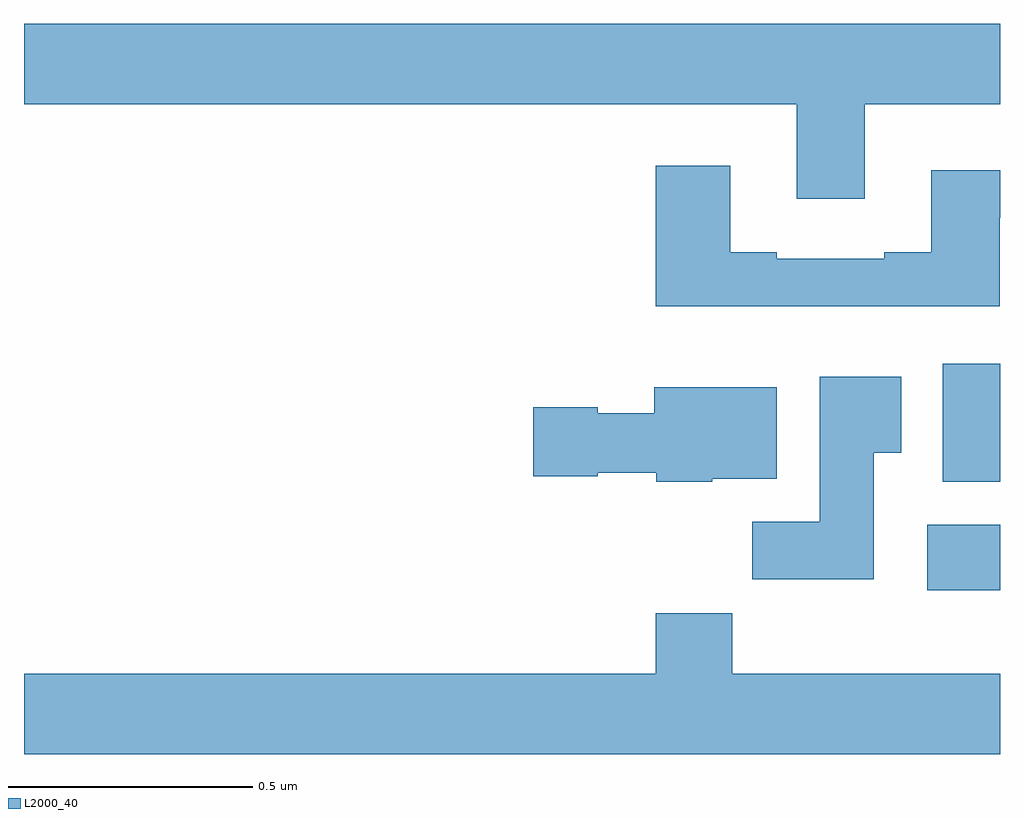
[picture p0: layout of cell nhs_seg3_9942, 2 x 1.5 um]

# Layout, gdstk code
import gdstk
lib = gdstk.Library(unit=1e-6, precision=1e-09)
def R(c, l, rs):  # rectangles x0, y0, x1, y1
    for r in rs: c.add(gdstk.rectangle(r[:2], r[2:], *l))
def P(c, l, *ps):  # polygons
    for p in ps: c.add(gdstk.Polygon(p, *l))
L2000_40 = (2000, 40)

nhs_seg3_9942 = lib.new_cell('nhs_seg3_9942')
R(nhs_seg3_9942, L2000_40, [(235.851,745.208,236,745.342), (235.883,745.43,236,745.672)])
P(nhs_seg3_9942, L2000_40, [(235.723,746.204),(236,746.204),(236,746.368),(234,746.368),(234,746.204),(235.583,746.204),(235.583,746.01),(235.723,746.01)],
  [(235.999,745.971),(236,745.971),(236,746.068),(235.859,746.068),(235.859,745.9),(235.763,745.9),(235.763,745.887),(235.543,745.887),(235.543,745.9),(235.447,745.9),(235.447,746.077),(235.295,746.077),(235.295,745.79),(235.999,745.79)],
  [(235.741,745.489),(235.798,745.489),(235.798,745.645),(235.631,745.645),(235.631,745.348),(235.492,745.348),(235.492,745.23),(235.741,745.23)],
  [(235.41,745.436),(235.543,745.436),(235.543,745.624),(235.292,745.624),(235.292,745.57),(235.176,745.57),(235.176,745.583),(235.044,745.583),(235.044,745.441),(235.176,745.441),(235.176,745.448),(235.296,745.448),(235.296,745.43),(235.41,745.43)],
  [(236,745.036),(235.451,745.036),(235.451,745.16),(235.295,745.16),(235.295,745.036),(234,745.036),(234,744.872),(236,744.872)])

lib.write_gds('nhs_seg3_9942.gds')
